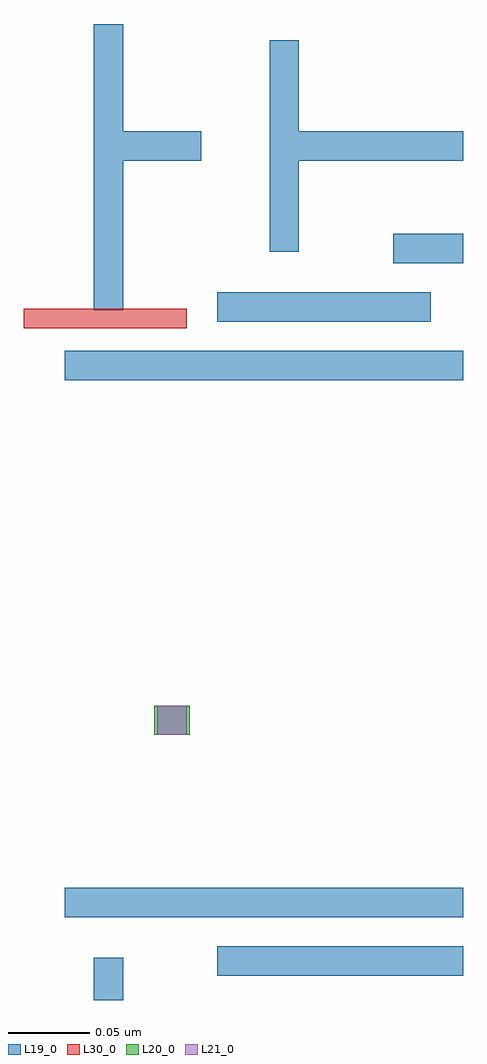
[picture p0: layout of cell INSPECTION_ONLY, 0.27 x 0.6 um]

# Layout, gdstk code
import gdstk
lib = gdstk.Library(unit=1e-6, precision=2.5e-10)
def R(c, l, rs):  # rectangles x0, y0, x1, y1
    for r in rs: c.add(gdstk.rectangle(r[:2], r[2:], *l))
def P(c, l, *ps):  # polygons
    for p in ps: c.add(gdstk.Polygon(p, *l))
L19_0 = (19, 0)
L20_0 = (20, 0)
L21_0 = (21, 0)
L30_0 = (30, 0)

inspection_only = lib.new_cell('INSPECTION_ONLY')
R(inspection_only, L19_0, [(4.018,0.21,4.036,0.236), (4.094,0.225,4.245,0.243), (4,0.261,4.245,0.279), (4,0.591,4.245,0.609), (4.094,0.627,4.225,0.645), (4.202,0.663,4.245,0.681)])
P(inspection_only, L19_0, [(4.018,0.634),(4.018,0.81),(4.036,0.81),(4.036,0.744),(4.084,0.744),(4.084,0.726),(4.036,0.726),(4.036,0.634)],
  [(4.126,0.67),(4.126,0.8),(4.144,0.8),(4.144,0.744),(4.245,0.744),(4.245,0.726),(4.144,0.726),(4.144,0.67)])
R(inspection_only, L20_0, [(4.055,0.373,4.077,0.391)])
R(inspection_only, L21_0, [(4.057,0.373,4.075,0.391)])
R(inspection_only, L30_0, [(3.975,0.623,4.075,0.635)])

lib.write_gds('INSPECTION_ONLY.gds')
